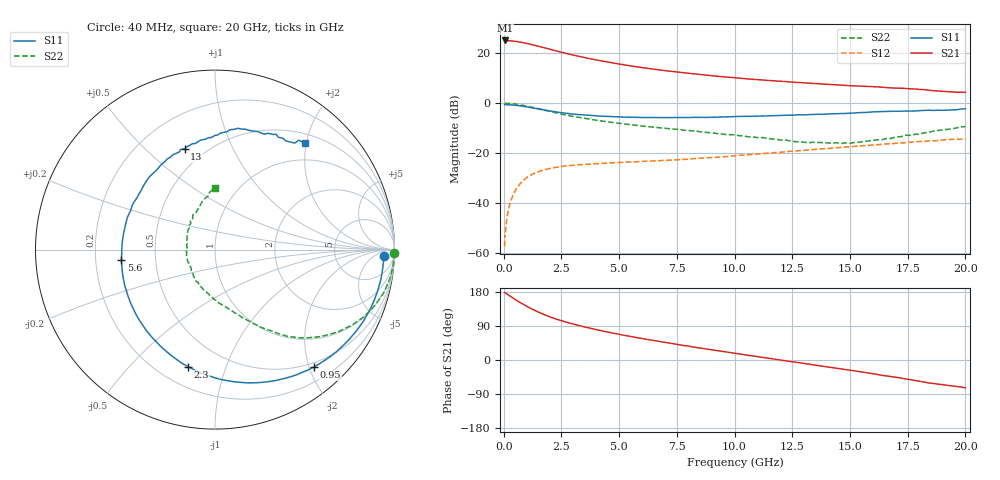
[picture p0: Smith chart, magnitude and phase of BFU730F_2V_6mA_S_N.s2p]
! Filename:  P:\Prog\Test\Noise\ATS_data\Testdata_Net\BFU730\BFU730_2W_B1_2V6mA_D.s2p
! Date/Time: Fri 29/Apr/2011 14:14:03
! BFU730_2W_B1_2V6mA
! bias mode 1: Vout= 2.0000 V, Iout= 5.9600 mA, Vin= 0.7914 V, Iin= 0.0178 mA
! Date/time Thu Mar 17 08:51:44 2011
! Device data file deembeded for feedlines and parallel
! Original file: \BFU730\BFU730_2W_B1_2V6mA_R.s2p
! Feed-files: PR003V01_101208_Feed1.s2p, PR003V01_101208_Feed2.s2p
! Parallel-file: PR003V01_101208_Par.s2p
# MHz S MA R 50
!  Freq-MHz  S11-mag  S11-arg  S21-mag  S21-arg  S12-mag  S12-arg  S22-mag  S22-arg
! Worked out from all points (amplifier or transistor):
!   167 points, 40 MHz to 20 GHz, reference 50 ohm
!   highest |S21| = 25.2 dB at 50 MHz (marker M1)
!   |S21| within 3 dB of that: start of sweep to 1.794 GHz
!   unconditionally stable (mu >= 1): 6.682 GHz to 15.95 GHz
!   at 550 MHz: K = 0.07, MSG = 29.5 dB, |S12| = -34.3 dB
!   at 4.2 GHz: K = 0.67, MSG = 20.6 dB, |S12| = -24.1 dB
!   at 20 GHz: K = 0.82, MSG = 9.3 dB, |S12| = -14.3 dB
!   lowest NFmin = 0.50 dB at 400 MHz
!   S11 on the Smith chart (normalised r, x): 40 MHz: 24, -15; 950 MHz: 0.43, -2.08; 2.3 GHz: 0.32, -0.75; 5.6 GHz: 0.31, -0.05; 13 GHz: 0.39, +0.67; 20 GHz: 0.66, +1.97
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40  0.9414 -2.1  18.09 178.3  0.001373 86.7  0.9975 -1.0
50  0.9385 -2.7  18.14 177.5  0.002242 84.3  0.9973 -1.4
60  0.942 -3.1  17.91 177.2  0.002122 83.1  0.9983 -1.6
240  0.9355 -13.1  17.99 170.0  0.0086 83.7  0.9926 -7.1
600  0.9025 -32.5  17.23 155.7  0.02101 72.5  0.952 -17.6
800  0.8766 -42.6  16.58 148.4  0.02708 66.7  0.9186 -22.9
950  0.8556 -49.9  15.96 143.3  0.03111 62.7  0.8885 -26.6
1200  0.8163 -61.5  15.09 135.2  0.03703 56.8  0.8396 -32.1
1500  0.7709 -74.3  13.94 126.5  0.04265 50.5  0.7783 -37.9
1900  0.7155 -89.7  12.49 116.2  0.04834 43.9  0.7048 -44.2
2300  0.6686 -103.0  11.12 107.4  0.05251 38.6  0.6394 -49.5
2800  0.6231 -117.5  9.73 98.3  0.05618 33.4  0.5679 -54.1
3400  0.5857 -132.4  8.437 88.8  0.05921 29.1  0.5087 -58.9
4400  0.547 -153.4  6.837 75.0  0.06317 24.4  0.4314 -65.6
5600  0.524 -173.8  5.521 60.9  0.06695 20.8  0.3667 -73.0
6800  0.5174 169.4  4.626 48.4  0.07088 18.9  0.3218 -80.0
8600  0.5221 147.9  3.717 30.7  0.07927 16.4  0.2647 -93.7
10200  0.5458 132.1  3.194 16.0  0.09049 14.5  0.2241 -109.0
13000  0.5868 106.7  2.57 -8.9  0.1138 6.5  0.1659 -146.4
13400  0.5958 104.1  2.498 -12.6  0.1187 4.9  0.1656 -154.5
16800  0.6916 75.9  2.031 -43.8  0.1552 -10.9  0.1981 132.8
20000  0.7765 49.9  1.659 -73.5  0.1928 -31.3  0.3418 90.2
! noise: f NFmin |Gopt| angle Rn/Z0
400  0.4953  0.4572  3.48  0.1402
850  0.5097  0.4247  13.65  0.1398
1500  0.533  0.392  28.01  0.1368
2150  0.5595  0.3694  41.54  0.1315
3100  0.6039  0.3427  59.89  0.1208
4300  0.6697  0.3086  82.47  0.1043
6200  0.7957  0.2662  123.8  0.0792
8800  1.012  0.3167  183.2  0.0685
1.14e+04  1.278  0.4234  223.4  0.1156
1.4e+04  1.595  0.4808  264.9  0.2544
